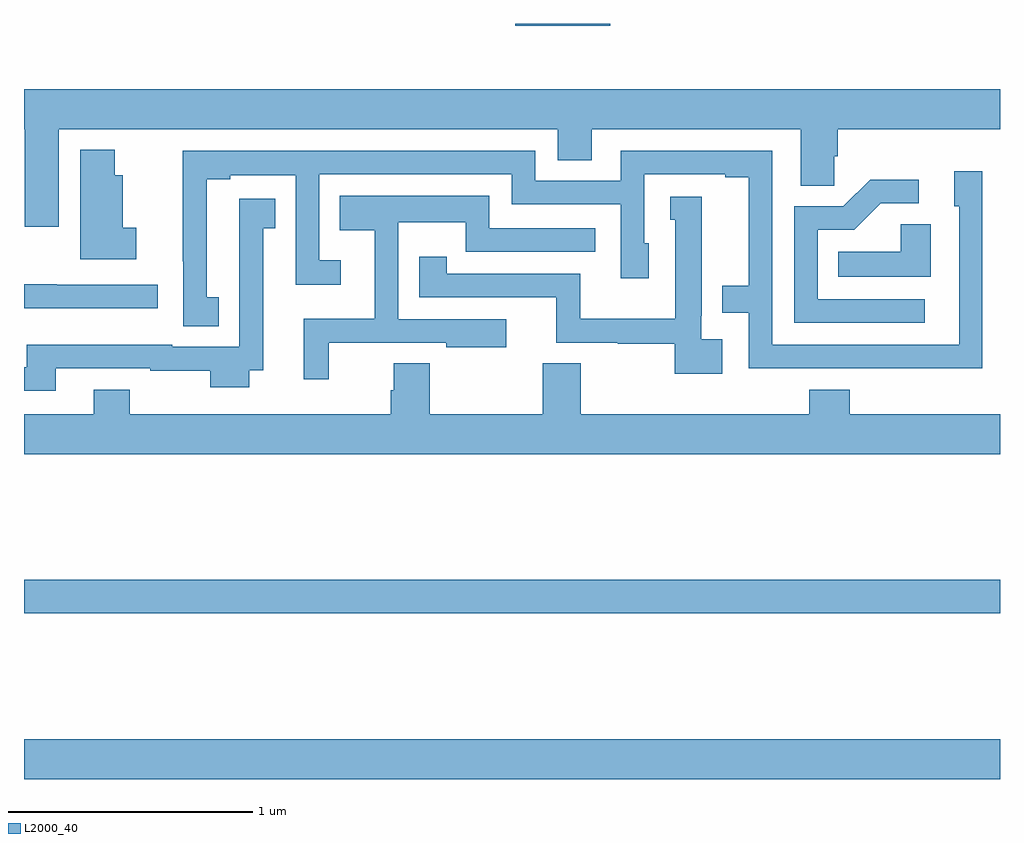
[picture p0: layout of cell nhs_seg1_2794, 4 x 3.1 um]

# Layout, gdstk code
import gdstk
lib = gdstk.Library(unit=1e-6, precision=1e-09)
def R(c, l, rs):  # rectangles x0, y0, x1, y1
    for r in rs: c.add(gdstk.rectangle(r[:2], r[2:], *l))
def P(c, l, *ps):  # polygons
    for p in ps: c.add(gdstk.Polygon(p, *l))
L2000_40 = (2000, 40)

nhs_seg1_2794 = lib.new_cell('nhs_seg1_2794')
R(nhs_seg1_2794, L2000_40, [(263,513.104,267,513.268), (263,513.784,267,513.92), (265.014,516.191,265.402,516.199)])
P(nhs_seg1_2794, L2000_40, [(263,515.768),(263.003,515.768),(263.003,515.367),(263.143,515.367),(263.143,515.768),(265.187,515.768),(265.187,515.641),(265.327,515.641),(265.327,515.768),(266.183,515.768),(266.183,515.536),(266.321,515.536),(266.321,515.656),(266.336,515.656),(266.336,515.768),(267,515.768),(267,515.932),(263,515.932)],
  [(263.461,515.364),(263.404,515.364),(263.404,515.578),(263.371,515.578),(263.371,515.683),(263.231,515.683),(263.231,515.234),(263.461,515.234)],
  [(266.928,515.596),(266.813,515.596),(266.813,515.451),(266.832,515.451),(266.832,514.884),(266.067,514.884),(266.067,515.679),(265.446,515.679),(265.446,515.556),(265.095,515.556),(265.095,515.679),(264.107,515.679),(264.107,515.68),(263.65,515.68),(263.65,515.227),(263.652,515.227),(263.652,514.96),(263.798,514.96),(263.798,515.079),(263.749,515.079),(263.749,515.562),(263.845,515.562),(263.845,515.579),(264.114,515.579),(264.114,515.129),(264.298,515.129),(264.298,515.23),(264.21,515.23),(264.21,515.583),(264.999,515.583),(264.999,515.46),(265.446,515.46),(265.446,515.157),(265.561,515.157),(265.561,515.301),(265.542,515.301),(265.542,515.583),(265.874,515.583),(265.874,515.571),(265.97,515.571),(265.97,515.125),(265.862,515.125),(265.862,515.016),(265.971,515.016),(265.971,514.788),(266.467,514.788),(266.467,514.787),(266.928,514.787)],
  [(266.692,515.07),(266.253,515.07),(266.253,515.355),(266.403,515.355),(266.511,515.463),(266.668,515.463),(266.668,515.561),(266.468,515.561),(266.358,515.451),(266.157,515.451),(266.157,514.974),(266.692,514.974)],
  [(264.248,514.893),(264.731,514.893),(264.731,514.874),(264.976,514.874),(264.976,514.989),(264.534,514.989),(264.534,515.387),(264.81,515.387),(264.81,515.266),(264.913,515.266),(264.913,515.265),(265.342,515.265),(265.342,515.361),(264.906,515.361),(264.906,515.494),(264.295,515.494),(264.295,515.354),(264.437,515.354),(264.437,514.99),(264.146,514.99),(264.146,514.743),(264.248,514.743)],
  [(265.861,514.906),(265.776,514.906),(265.776,515.002),(265.777,515.002),(265.777,515.49),(265.649,515.49),(265.649,515.397),(265.67,515.397),(265.67,514.99),(265.279,514.99),(265.279,515.175),(264.732,515.175),(264.732,515.245),(264.619,515.245),(264.619,515.079),(265.181,515.079),(265.181,514.893),(265.434,514.893),(265.434,514.888),(265.668,514.888),(265.668,514.766),(265.861,514.766)],
  [(263.131,514.788),(263.517,514.788),(263.517,514.778),(263.764,514.778),(263.764,514.709),(263.923,514.709),(263.923,514.779),(263.98,514.779),(263.98,515.361),(264.029,515.361),(264.029,515.482),(263.882,515.482),(263.882,515.158),(263.883,515.158),(263.883,514.875),(263.607,514.875),(263.607,514.885),(263.012,514.885),(263.012,514.791),(263,514.791),(263,514.695),(263.131,514.695)],
  [(266.716,515.378),(266.594,515.378),(266.594,515.266),(266.338,515.266),(266.338,515.162),(266.716,515.162)],
  [(263.548,515.13),(263.135,515.13),(263.135,515.133),(263,515.133),(263,515.033),(263.548,515.033)],
  [(267,514.6),(266.384,514.6),(266.384,514.699),(266.219,514.699),(266.219,514.6),(265.281,514.6),(265.281,514.808),(265.126,514.808),(265.126,514.6),(264.663,514.6),(264.663,514.808),(264.515,514.808),(264.515,514.698),(264.503,514.698),(264.503,514.6),(263.433,514.6),(263.433,514.699),(263.285,514.699),(263.285,514.6),(263,514.6),(263,514.436),(267,514.436)])

lib.write_gds('nhs_seg1_2794.gds')
